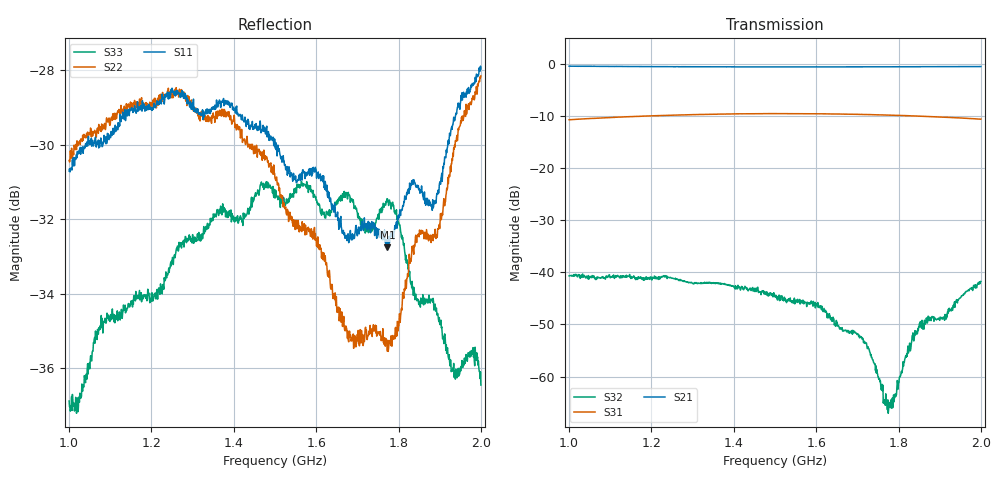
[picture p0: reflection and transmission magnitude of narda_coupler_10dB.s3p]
#  HZ  S  DB  R  50.00
! Rohde & Schwarz Vector Network Analyzer
! Rohde-Schwarz,ZNB8-4Port,1311601044102961,2.82
! Created: UTC 3/4/2022, 3:44:25 PM
! freq[Hz]  db:S11  ang:S11  db:S12  ang:S12  db:S13  ang:S13
!  db:S21  ang:S21  db:S22  ang:S22  db:S23  ang:S23
!  db:S31  ang:S31  db:S32  ang:S32  db:S33  ang:S33
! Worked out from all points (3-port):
!   1001 points, 1 GHz to 2 GHz, reference 50 ohm
!   strongest paths, dB at 1 GHz, 1.25 GHz, 1.5 GHz, 1.75 GHz, 2 GHz:
!     S21: -0.4, -0.5, -0.6, -0.5, -0.5
!     S31: -10.7, -9.8, -9.5, -9.8, -10.6
!     S32: -40.7, -41.2, -44.5, -60.0, -41.7
!   lowest |S11| = -32.7 dB at 1.773 GHz (marker M1), VSWR 1.05, Z = 51.2 + j1.98 ohm
!   |S11| at or under -10 dB: start of sweep to end of sweep
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1e9  -30.71 103.6  -0.41 -171.8  -10.71 -86.0
     -0.43 -171.7  -30.42 90.9  -40.61 -123.7
     -10.71 -85.9  -40.68 -123.1  -36.87 110.4
1.23e9  -28.72 73.1  -0.53 149.6  -9.89 -125.5
        -0.52 149.6  -28.67 48.1  -41.12 179.0
        -9.88 -125.5  -40.78 176.1  -33.88 99.1
1.5e9  -29.94 46.5  -0.56 104.4  -9.53 -171.6
       -0.56 104.4  -30.90 -12.7  -44.63 108.6
       -9.53 -171.7  -44.52 108.9  -31.43 82.0
1.601e9  -30.90 40.5  -0.56 87.5  -9.56 171.1
         -0.56 87.5  -32.72 -40.9  -46.44 79.8
         -9.57 171.1  -46.03 80.3  -31.48 75.3
1.706e9  -32.29 47.4  -0.55 69.9  -9.68 153.1
         -0.55 69.9  -35.16 -89.7  -52.20 40.5
         -9.68 153.1  -52.57 41.3  -32.01 63.0
1.773e9  -32.75 56.8  -0.54 58.6  -9.82 141.5
         -0.55 58.5  -35.54 -134.0  -66.37 -50.4
         -9.81 141.5  -66.37 -43.7  -31.45 53.6
1.788e9  -32.53 57.6  -0.54 56.0  -9.85 138.9
         -0.55 56.0  -35.21 -140.9  -62.63 -67.7
         -9.85 138.8  -63.52 -64.5  -31.62 57.2
1.852e9  -31.30 72.2  -0.52 45.2  -10.03 127.9
         -0.53 45.1  -32.38 178.8  -49.64 -143.2
         -10.03 127.9  -50.51 -144.4  -34.20 50.7
1.922e9  -29.98 68.1  -0.51 33.3  -10.26 115.7
         -0.52 33.2  -30.84 157.6  -48.57 -171.6
         -10.27 115.6  -47.57 -166.8  -35.75 50.8
2e9  -27.97 72.4  -0.50 19.8  -10.61 101.9
     -0.50 19.8  -28.15 127.7  -41.74 171.0
     -10.60 101.9  -41.74 168.2  -36.45 63.1
